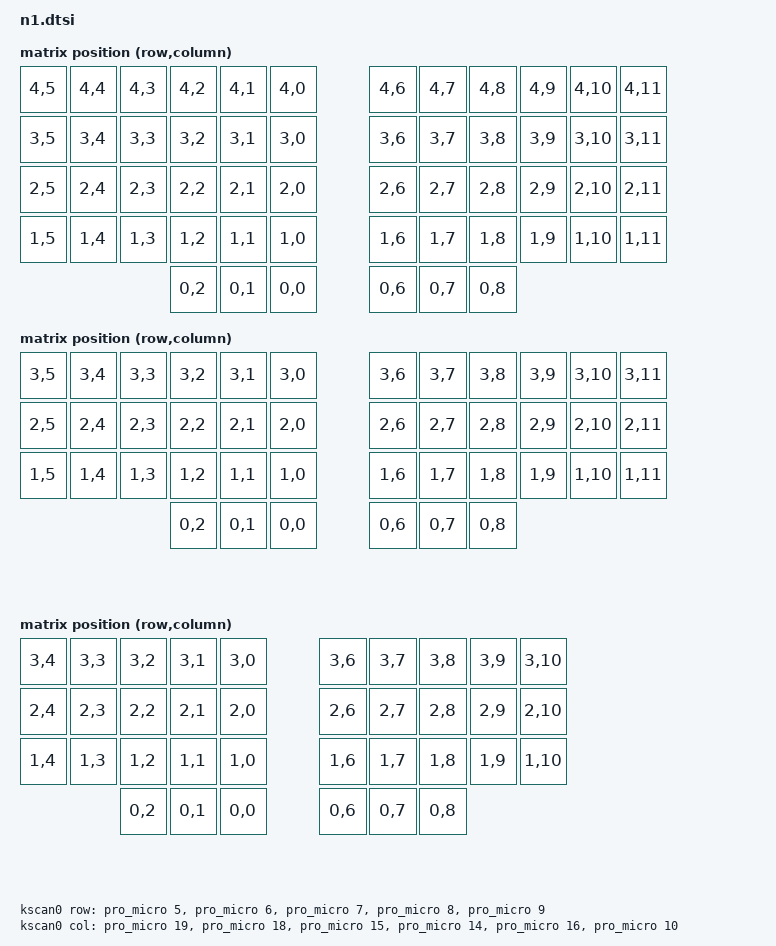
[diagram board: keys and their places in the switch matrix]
/*
 * Copyright (c) 2022 The ZMK Contributors
 *
 * SPDX-License-Identifier: MIT
 */

#include <dt-bindings/zmk/matrix_transform.h>
#include <physical_layouts.dtsi>

/ {

    chosen {
        zephyr,display = &oled;
	zmk,physical-layout = &n1_6x4_layout;
	zmk,studio-rpc-uart = &uart1;
    };

    n1_6x4_layout: n1_6x4_layout {
	compatible = "zmk,physical-layout";
	display-name = "6x4 Layout";
	
	transform = <&n1_6x4_transform>;
	kscan = <&kscan0>;
	
		keys       //                  w   h   x    y o x y
			= <&key_physical_attrs 100 100 100  0 0 0 0>
			, <&key_physical_attrs 100 100 200  0 0 0 0>
			, <&key_physical_attrs 100 100 300  0 0 0 0>
			, <&key_physical_attrs 100 100 400  0 0 0 0>
			, <&key_physical_attrs 100 100 500  0 0 0 0>
			, <&key_physical_attrs 100 100 600  0 0 0 0>
                        //
			, <&key_physical_attrs 100 100 800  0 0 0 0>
			, <&key_physical_attrs 100 100 900  0 0 0 0>
			, <&key_physical_attrs 100 100 1000 0 0 0 0>
			, <&key_physical_attrs 100 100 1100 0 0 0 0>
			, <&key_physical_attrs 100 100 1200 0 0 0 0>
			, <&key_physical_attrs 100 100 1300 0 0 0 0>

			, <&key_physical_attrs 100 100 100  100 0 0 0>
			, <&key_physical_attrs 100 100 200  100 0 0 0>
			, <&key_physical_attrs 100 100 300  100 0 0 0>
			, <&key_physical_attrs 100 100 400  100 0 0 0>
			, <&key_physical_attrs 100 100 500  100 0 0 0>
			, <&key_physical_attrs 100 100 600  100 0 0 0>
			//
                        , <&key_physical_attrs 100 100 800  100 0 0 0>
			, <&key_physical_attrs 100 100 900  100 0 0 0>
			, <&key_physical_attrs 100 100 1000 100 0 0 0>
			, <&key_physical_attrs 100 100 1100 100 0 0 0>
			, <&key_physical_attrs 100 100 1200 100 0 0 0>
			, <&key_physical_attrs 100 100 1300 100 0 0 0>

			, <&key_physical_attrs 100 100 100  200 0 0 0>
			, <&key_physical_attrs 100 100 200  200 0 0 0>
			, <&key_physical_attrs 100 100 300  200 0 0 0>
			, <&key_physical_attrs 100 100 400  200 0 0 0>
			, <&key_physical_attrs 100 100 500  200 0 0 0>
			, <&key_physical_attrs 100 100 600  200 0 0 0>
                        //
			, <&key_physical_attrs 100 100 800  200 0 0 0>
			, <&key_physical_attrs 100 100 900  200 0 0 0>
			, <&key_physical_attrs 100 100 1000 200 0 0 0>
			, <&key_physical_attrs 100 100 1100 200 0 0 0>
			, <&key_physical_attrs 100 100 1200 200 0 0 0>
			, <&key_physical_attrs 100 100 1300 200 0 0 0>

			, <&key_physical_attrs 100 100 100  300 0 0 0>
			, <&key_physical_attrs 100 100 200  300 0 0 0>
			, <&key_physical_attrs 100 100 300  300 0 0 0>
			, <&key_physical_attrs 100 100 400  300 0 0 0>
			, <&key_physical_attrs 100 100 500  300 0 0 0>
			, <&key_physical_attrs 100 100 600  300 0 0 0>
                        //
			, <&key_physical_attrs 100 100 800  300 0 0 0>
			, <&key_physical_attrs 100 100 900  300 0 0 0>
			, <&key_physical_attrs 100 100 1000 300 0 0 0>
			, <&key_physical_attrs 100 100 1100 300 0 0 0>
			, <&key_physical_attrs 100 100 1200 300 0 0 0>
			, <&key_physical_attrs 100 100 1300 300 0 0 0>

			, <&key_physical_attrs 100 100 400  400 0 0 0>
			, <&key_physical_attrs 100 100 500  400 0 0 0>
			, <&key_physical_attrs 100 100 600  400 0 0 0>
			, <&key_physical_attrs 100 100 800  400 0 0 0>
			, <&key_physical_attrs 100 100 900  400 0 0 0>
			, <&key_physical_attrs 100 100 1000  400 0 0 0>
			;
    };

    n1_6x3_layout: n1_6x3_layout {
	compatible = "zmk,physical-layout";
	display-name = "6x3 Layout";
	
	transform = <&n1_6x3_transform>;
	kscan = <&kscan0>;
	
		keys       //                  w   h   x    y o x y
			= <&key_physical_attrs 100 100 100  0 0 0 0>
			, <&key_physical_attrs 100 100 200  0 0 0 0>
			, <&key_physical_attrs 100 100 300  0 0 0 0>
			, <&key_physical_attrs 100 100 400  0 0 0 0>
			, <&key_physical_attrs 100 100 500  0 0 0 0>
			, <&key_physical_attrs 100 100 600  0 0 0 0>
                        //
			, <&key_physical_attrs 100 100 800  0 0 0 0>
			, <&key_physical_attrs 100 100 900  0 0 0 0>
			, <&key_physical_attrs 100 100 1000 0 0 0 0>
			, <&key_physical_attrs 100 100 1100 0 0 0 0>
			, <&key_physical_attrs 100 100 1200 0 0 0 0>
			, <&key_physical_attrs 100 100 1300 0 0 0 0>

			, <&key_physical_attrs 100 100 100  100 0 0 0>
			, <&key_physical_attrs 100 100 200  100 0 0 0>
			, <&key_physical_attrs 100 100 300  100 0 0 0>
			, <&key_physical_attrs 100 100 400  100 0 0 0>
			, <&key_physical_attrs 100 100 500  100 0 0 0>
			, <&key_physical_attrs 100 100 600  100 0 0 0>
                        //
			, <&key_physical_attrs 100 100 800  100 0 0 0>
			, <&key_physical_attrs 100 100 900  100 0 0 0>
			, <&key_physical_attrs 100 100 1000 100 0 0 0>
			, <&key_physical_attrs 100 100 1100 100 0 0 0>
			, <&key_physical_attrs 100 100 1200 100 0 0 0>
			, <&key_physical_attrs 100 100 1300 100 0 0 0>

			, <&key_physical_attrs 100 100 100  200 0 0 0>
			, <&key_physical_attrs 100 100 200  200 0 0 0>
			, <&key_physical_attrs 100 100 300  200 0 0 0>
			, <&key_physical_attrs 100 100 400  200 0 0 0>
			, <&key_physical_attrs 100 100 500  200 0 0 0>
			, <&key_physical_attrs 100 100 600  200 0 0 0>
                        //
			, <&key_physical_attrs 100 100 800  200 0 0 0>
			, <&key_physical_attrs 100 100 900  200 0 0 0>
			, <&key_physical_attrs 100 100 1000 200 0 0 0>
			, <&key_physical_attrs 100 100 1100 200 0 0 0>
			, <&key_physical_attrs 100 100 1200 200 0 0 0>
			, <&key_physical_attrs 100 100 1300 200 0 0 0>

			, <&key_physical_attrs 100 100 400   300 0 0 0>
			, <&key_physical_attrs 100 100 500   300 0 0 0>
			, <&key_physical_attrs 100 100 600   300 0 0 0>
			, <&key_physical_attrs 100 100 800   300 0 0 0>
			, <&key_physical_attrs 100 100 900   300 0 0 0>
			, <&key_physical_attrs 100 100 1000  300 0 0 0>
			;
    };

    n1_5x3_layout: n1_5x3_layout {
	compatible = "zmk,physical-layout";
	display-name = "5x3 Layout";
	
	transform = <&n1_5x3_transform>;
	kscan = <&kscan0>;
	
		keys       //                  w   h   x    y o x y
			= <&key_physical_attrs 100 100 200  0 0 0 0>
			, <&key_physical_attrs 100 100 300  0 0 0 0>
			, <&key_physical_attrs 100 100 400  0 0 0 0>
			, <&key_physical_attrs 100 100 500  0 0 0 0>
			, <&key_physical_attrs 100 100 600  0 0 0 0>
                        //
			, <&key_physical_attrs 100 100 800  0 0 0 0>
			, <&key_physical_attrs 100 100 900  0 0 0 0>
			, <&key_physical_attrs 100 100 1000 0 0 0 0>
			, <&key_physical_attrs 100 100 1100 0 0 0 0>
			, <&key_physical_attrs 100 100 1200 0 0 0 0>
			
			, <&key_physical_attrs 100 100 200  100 0 0 0>
			, <&key_physical_attrs 100 100 300  100 0 0 0>
			, <&key_physical_attrs 100 100 400  100 0 0 0>
			, <&key_physical_attrs 100 100 500  100 0 0 0>
			, <&key_physical_attrs 100 100 600  100 0 0 0>
                        //
			, <&key_physical_attrs 100 100 800  100 0 0 0>
			, <&key_physical_attrs 100 100 900  100 0 0 0>
			, <&key_physical_attrs 100 100 1000 100 0 0 0>
			, <&key_physical_attrs 100 100 1100 100 0 0 0>
			, <&key_physical_attrs 100 100 1200 100 0 0 0>
			
			, <&key_physical_attrs 100 100 200  200 0 0 0>
			, <&key_physical_attrs 100 100 300  200 0 0 0>
			, <&key_physical_attrs 100 100 400  200 0 0 0>
			, <&key_physical_attrs 100 100 500  200 0 0 0>
			, <&key_physical_attrs 100 100 600  200 0 0 0>
                        //        
			, <&key_physical_attrs 100 100 800  200 0 0 0>
			, <&key_physical_attrs 100 100 900  200 0 0 0>
			, <&key_physical_attrs 100 100 1000 200 0 0 0>
			, <&key_physical_attrs 100 100 1100 200 0 0 0>
			, <&key_physical_attrs 100 100 1200 200 0 0 0>
			
			, <&key_physical_attrs 100 100 400   300 0 0 0>
			, <&key_physical_attrs 100 100 500   300 0 0 0>
			, <&key_physical_attrs 100 100 600   300 0 0 0>
			, <&key_physical_attrs 100 100 800   300 0 0 0>
			, <&key_physical_attrs 100 100 900   300 0 0 0>
			, <&key_physical_attrs 100 100 1000  300 0 0 0>
			;
    };

    n1_6x4_transform: keymap_transform_0 {
        compatible = "zmk,matrix-transform";
        columns = <12>;
        rows = <5>;
        map = <

        RC(4,5) RC(4,4) RC(4,3) RC(4,2) RC(4,1) RC(4,0)     RC(4,6) RC(4,7) RC(4,8) RC(4,9) RC(4,10) RC(4,11)
	RC(3,5) RC(3,4) RC(3,3) RC(3,2) RC(3,1) RC(3,0)     RC(3,6) RC(3,7) RC(3,8) RC(3,9) RC(3,10) RC(3,11)
	RC(2,5) RC(2,4) RC(2,3) RC(2,2) RC(2,1) RC(2,0)     RC(2,6) RC(2,7) RC(2,8) RC(2,9) RC(2,10) RC(2,11)
	RC(1,5) RC(1,4) RC(1,3) RC(1,2) RC(1,1) RC(1,0)     RC(1,6) RC(1,7) RC(1,8) RC(1,9) RC(1,10) RC(1,11)
		                RC(0,2) RC(0,1) RC(0,0)     RC(0,6) RC(0,7) RC(0,8)

        >;
    };

    n1_6x3_transform: keymap_transform_1 {
        compatible = "zmk,matrix-transform";
        columns = <12>;
        rows = <4>;
        map = <

	RC(3,5) RC(3,4) RC(3,3) RC(3,2) RC(3,1) RC(3,0)     RC(3,6) RC(3,7) RC(3,8) RC(3,9) RC(3,10) RC(3,11)
	RC(2,5) RC(2,4) RC(2,3) RC(2,2) RC(2,1) RC(2,0)     RC(2,6) RC(2,7) RC(2,8) RC(2,9) RC(2,10) RC(2,11)
	RC(1,5) RC(1,4) RC(1,3) RC(1,2) RC(1,1) RC(1,0)     RC(1,6) RC(1,7) RC(1,8) RC(1,9) RC(1,10) RC(1,11)
		                RC(0,2) RC(0,1) RC(0,0)     RC(0,6) RC(0,7) RC(0,8)

        >;
    };

    n1_5x3_transform: keymap_transform_2 {
        compatible = "zmk,matrix-transform";
        columns = <10>;
        rows = <4>;
        map = <

	RC(3,4) RC(3,3) RC(3,2) RC(3,1) RC(3,0)     RC(3,6) RC(3,7) RC(3,8) RC(3,9) RC(3,10)
	RC(2,4) RC(2,3) RC(2,2) RC(2,1) RC(2,0)     RC(2,6) RC(2,7) RC(2,8) RC(2,9) RC(2,10)
	RC(1,4) RC(1,3) RC(1,2) RC(1,1) RC(1,0)     RC(1,6) RC(1,7) RC(1,8) RC(1,9) RC(1,10)
			RC(0,2) RC(0,1) RC(0,0)     RC(0,6) RC(0,7) RC(0,8)

        >;
    };

    layouts_n1_position_map {
        compatible = "zmk,physical-layout-position-map";
        complete;

        n1_6x4_posmap: n1_6x4_posmap {
            physical-layout = <&n1_6x4_layout>;
            positions
                = < 0  1  2  3  4  5    6  7  8  9 10 11>
                , <12 13 14 15 16 17   18 19 20 21 22 23>
                , <24 25 26 27 28 29   30 31 32 33 34 35>
                , <36 37 38 39 40 41   42 43 44 45 46 47>
                , <         48 49 50   51 52 53         >;
        };
        n1_6x3_posmap: n1_6x3_posmap {
            physical-layout = <&n1_6x3_layout>;
            positions
                = <53 52 51 50 49 48   47 46 45 44 43 42>
		, < 0  1  2  3  4  5    6  7  8  9 10 11>
                , <12 13 14 15 16 17   18 19 20 21 22 23>
                , <24 25 26 27 28 29   30 31 32 33 34 35>
                , <         36 37 38   39 40 41         >;
        };
        n1_5x3_posmap: n1_5x3_posmap {
            physical-layout = <&n1_5x3_layout>;
            positions
                = <53 52 51 50 49 48   47 46 45 44 43 42>
                , <41  0  1  2  3  4    5  6  7  8  9 40>
                , <39 10 11 12 13 14   15 16 17 18 19 38>
                , <37 20 21 22 23 24   25 26 27 28 29 36>
                , <         30 31 32   33 34 35         >;

        };

    };

    kscan0: kscan { 
        compatible = "zmk,kscan-gpio-matrix";
	label = "KSCAN";
	diode-direction = "col2row";
	row-gpios
		= <&pro_micro 5 (GPIO_ACTIVE_HIGH | GPIO_PULL_DOWN)>
		, <&pro_micro 6 (GPIO_ACTIVE_HIGH | GPIO_PULL_DOWN)>
		, <&pro_micro 7 (GPIO_ACTIVE_HIGH | GPIO_PULL_DOWN)>
		, <&pro_micro 8 (GPIO_ACTIVE_HIGH | GPIO_PULL_DOWN)>
		, <&pro_micro 9 (GPIO_ACTIVE_HIGH | GPIO_PULL_DOWN)>
		;

	col-gpios
		= <&pro_micro 19 (GPIO_ACTIVE_HIGH | GPIO_PULL_DOWN)>
		, <&pro_micro 18 (GPIO_ACTIVE_HIGH | GPIO_PULL_DOWN)>
		, <&pro_micro 15 (GPIO_ACTIVE_HIGH | GPIO_PULL_DOWN)>
		, <&pro_micro 14 (GPIO_ACTIVE_HIGH | GPIO_PULL_DOWN)>
		, <&pro_micro 16 (GPIO_ACTIVE_HIGH | GPIO_PULL_DOWN)>
		, <&pro_micro 10 (GPIO_ACTIVE_HIGH | GPIO_PULL_DOWN)>
		;
    };

};

/*
//defined in central.overlay
&pro_micro_i2c {
    status = "okay";
    oled: ssd1306@3c {
        compatible = "solomon,ssd1306fb";
        reg = <0x3c>;
        width = <128>;
        height = <64>;
        segment-offset = <0>;
        page-offset = <0>;
        display-offset = <0>;
        multiplex-ratio = <63>;
        //segment-remap;
        //com-invdir;
        //com-sequential;
        inversion-on;
        prechargep = <0x22>;
    };
};
*/
